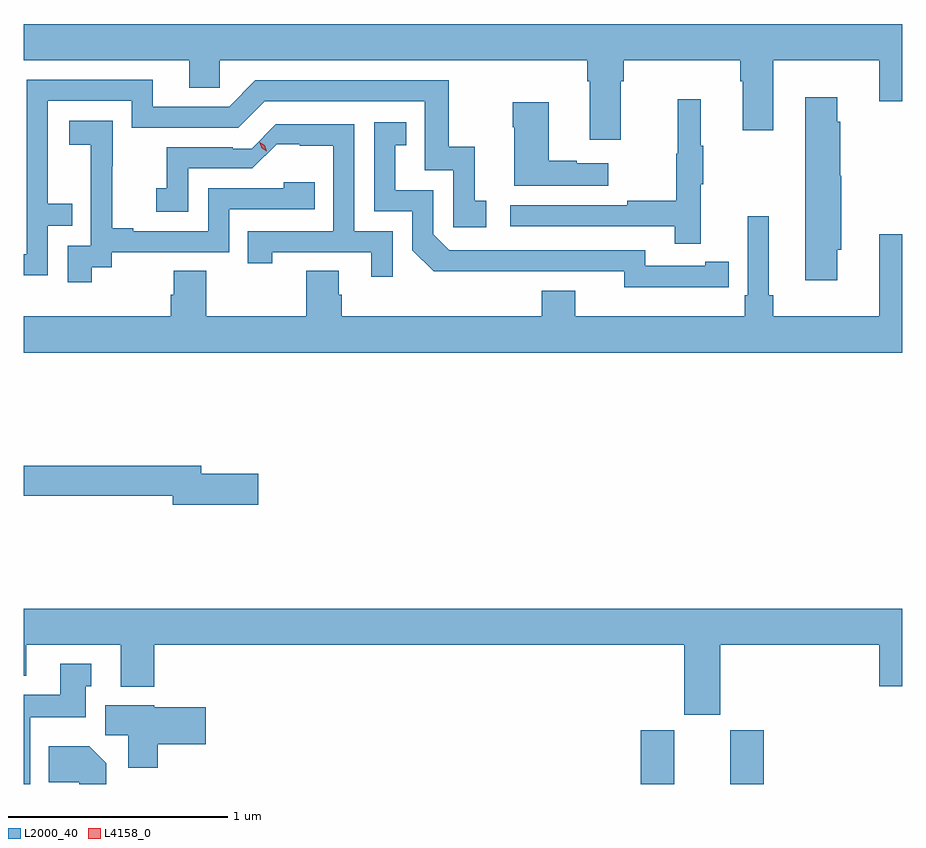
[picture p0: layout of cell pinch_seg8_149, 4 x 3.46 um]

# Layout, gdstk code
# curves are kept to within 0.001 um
import gdstk
lib = gdstk.Library(unit=1e-6, precision=1e-09)
def R(c, l, rs):  # rectangles x0, y0, x1, y1
    for r in rs: c.add(gdstk.rectangle(r[:2], r[2:], *l))
def P(c, l, *ps):  # polygons
    for p in ps: c.add(gdstk.Polygon(p, *l))
L2000_40 = (2000, 40)
L4158_0 = (4158, 0)

pinch_seg8_149 = lib.new_cell('pinch_seg8_149')
R(pinch_seg8_149, L2000_40, [(643.442,1130.519,643.594,1130.763), (643.85,1130.519,644.003,1130.763)])
P(pinch_seg8_149, L2000_40, [(640.633,1133.816),(641.387,1133.816),(641.387,1133.689),(641.526,1133.689),(641.526,1133.816),(643.199,1133.816),(643.199,1133.72),(643.211,1133.72),(643.211,1133.454),(643.351,1133.454),(643.351,1133.72),(643.364,1133.72),(643.364,1133.816),(643.895,1133.816),(643.895,1133.72),(643.907,1133.72),(643.907,1133.496),(644.047,1133.496),(644.047,1133.816),(644.528,1133.816),(644.528,1133.628),(644.633,1133.628),(644.633,1133.98),(640.633,1133.98)],
  [(640.743,1133.061),(640.853,1133.061),(640.853,1133.162),(640.743,1133.162),(640.743,1133.631),(641.124,1133.631),(641.124,1133.508),(641.61,1133.508),(641.73,1133.628),(642.459,1133.628),(642.459,1133.313),(642.588,1133.313),(642.588,1133.055),(642.739,1133.055),(642.739,1133.175),(642.686,1133.175),(642.686,1133.422),(642.568,1133.422),(642.568,1133.724),(641.688,1133.724),(641.568,1133.604),(641.221,1133.604),(641.221,1133.727),(640.647,1133.727),(640.647,1132.932),(640.633,1132.932),(640.633,1132.836),(640.743,1132.836)],
  [(644.338,1132.953),(644.356,1132.953),(644.356,1133.289),(644.351,1133.289),(644.351,1133.534),(644.338,1133.534),(644.338,1133.647),(644.192,1133.647),(644.192,1132.812),(644.338,1132.812)],
  [(643.715,1133.251),(643.726,1133.251),(643.726,1133.425),(643.715,1133.425),(643.715,1133.638),(643.612,1133.638),(643.612,1133.388),(643.605,1133.388),(643.605,1133.174),(643.381,1133.174),(643.381,1133.154),(642.849,1133.154),(642.849,1133.058),(643.597,1133.058),(643.597,1132.98),(643.715,1132.98)],
  [(643.294,1133.347),(643.151,1133.347),(643.151,1133.357),(643.024,1133.357),(643.024,1133.623),(642.859,1133.623),(642.859,1133.51),(642.866,1133.51),(642.866,1133.243),(643.294,1133.243)],
  [(640.942,1132.873),(641.034,1132.873),(641.034,1132.941),(641.568,1132.941),(641.568,1133.136),(641.957,1133.136),(641.957,1133.26),(641.817,1133.26),(641.817,1133.232),(641.472,1133.232),(641.472,1133.037),(641.131,1133.037),(641.131,1133.05),(641.036,1133.05),(641.036,1133.333),(641.037,1133.333),(641.037,1133.539),(640.839,1133.539),(640.839,1133.429),(640.937,1133.429),(640.937,1133.201),(640.938,1133.201),(640.938,1132.971),(640.833,1132.971),(640.833,1132.803),(640.942,1132.803)],
  [(643.736,1132.782),(643.844,1132.782),(643.844,1132.898),(643.736,1132.898),(643.736,1132.878),(643.464,1132.878),(643.464,1132.95),(642.57,1132.95),(642.498,1133.022),(642.498,1133.223),(642.325,1133.223),(642.325,1133.427),(642.374,1133.427),(642.374,1133.533),(642.228,1133.533),(642.228,1133.127),(642.402,1133.127),(642.402,1132.95),(642.5,1132.853),(643.368,1132.854),(643.368,1132.781)],
  [(642.312,1133.037),(642.138,1133.037),(642.138,1133.523),(641.781,1133.523),(641.67,1133.412),(641.585,1133.412),(641.585,1133.418),(641.284,1133.418),(641.284,1133.233),(641.235,1133.233),(641.235,1133.124),(641.382,1133.124),(641.382,1133.322),(641.673,1133.322),(641.784,1133.433),(641.89,1133.433),(641.89,1133.426),(642.042,1133.426),(642.042,1133.037),(641.653,1133.037),(641.653,1132.89),(641.764,1132.89),(641.764,1132.941),(642.215,1132.941),(642.215,1132.83),(642.312,1132.83)],
  [(644.633,1133.023),(644.528,1133.023),(644.528,1132.648),(644.045,1132.648),(644.045,1132.744),(644.026,1132.744),(644.026,1133.104),(643.929,1133.104),(643.929,1132.744),(643.916,1132.744),(643.916,1132.648),(643.144,1132.648),(643.144,1132.765),(642.992,1132.765),(642.992,1132.648),(642.08,1132.648),(642.08,1132.746),(642.067,1132.746),(642.067,1132.856),(641.92,1132.856),(641.92,1132.648),(641.463,1132.648),(641.463,1132.856),(641.315,1132.856),(641.315,1132.746),(641.303,1132.746),(641.303,1132.648),(640.633,1132.648),(640.633,1132.484),(644.633,1132.484)],
  [(641.701,1131.932),(641.44,1131.932),(641.44,1131.968),(640.633,1131.968),(640.633,1131.832),(641.312,1131.832),(641.312,1131.79),(641.701,1131.79)],
  [(643.804,1131.152),(644.528,1131.152),(644.528,1130.964),(644.633,1130.964),(644.633,1131.316),(640.633,1131.316),(640.633,1131.011),(640.645,1131.011),(640.645,1131.152),(641.075,1131.152),(641.075,1130.963),(641.228,1130.963),(641.228,1131.152),(643.64,1131.152),(643.64,1130.835),(643.804,1130.835)],
  [(640.662,1130.822),(640.915,1130.822),(640.915,1130.964),(640.939,1130.964),(640.939,1131.067),(640.799,1131.067),(640.799,1130.926),(640.633,1130.926),(640.633,1130.519),(640.662,1130.519)],
  [(641.243,1130.699),(641.461,1130.699),(641.461,1130.869),(641.226,1130.869),(641.226,1130.878),(641.003,1130.878),(641.003,1130.74),(641.108,1130.74),(641.108,1130.592),(641.243,1130.592)],
  [(641.008,1130.614),(640.93,1130.692),(640.747,1130.692),(640.747,1130.528),(640.886,1130.528),(640.886,1130.519),(641.008,1130.519)])
P(pinch_seg8_149, L4158_0, [(641.739,1133.4),(641.716,1133.414),(641.707,1133.44),(641.707,1133.441),(641.707,1133.441),(641.731,1133.427),(641.74,1133.401),(641.74,1133.4)])

lib.write_gds('pinch_seg8_149.gds')
